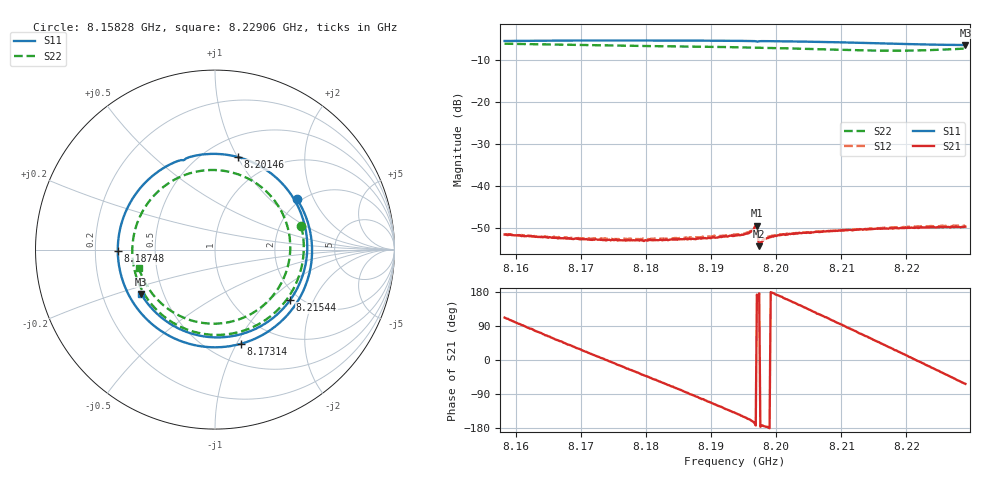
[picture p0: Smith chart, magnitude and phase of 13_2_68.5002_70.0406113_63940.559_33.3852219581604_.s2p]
#  HZ  S  RI  R  50.00
! Rohde & Schwarz Vector Network Analyzer
! Rohde-Schwarz,ZNB20-2Port,1311601062101988,3.16
! Created: UTC 3/20/2024, 5:04:15 PM
! freq[Hz]  re:S11  im:S11  re:S21  im:S21  re:S12  im:S12  re:S22  im:S22
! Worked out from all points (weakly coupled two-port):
!   401 points, 8.15828 GHz to 8.22906 GHz, reference 50 ohm
!   highest |S21| = -49.49 dB at 8.19703 GHz (marker M1); lowest = -54.4 dB at 8.19739 GHz (marker M2)
!   lowest |S11| = -6.4 dB at 8.22906 GHz (marker M3), VSWR 2.85, Z = 18.7 - j12 ohm
!   |S11| at or under -10 dB: nowhere
!   |S22| runs from -7.7 to -6.1 dB; largest |S21 - S12| = 0.00023
!   S11 on the Smith chart (normalised r, x): 8.15828 GHz: 1.91, +1.50; 8.17314 GHz: 0.70, -1.04; 8.18748 GHz: 0.30, -0.01; 8.20146 GHz: 0.70, +1.00; 8.21544 GHz: 1.79, -1.35; 8.22906 GHz: 0.37, -0.24
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8.158277e9  0.4579 0.2796  -0.000981 0.00244  -0.000998 0.00243  0.4802 0.1306
8.164117e9  0.5332 -0.0963  0.000886 0.00228  0.000849 0.00231  0.4404 -0.212
8.170134e9  0.3268 -0.435  0.00208 0.00102  0.00213 0.00107  0.1835 -0.4431
8.173142e9  0.1444 -0.5249  0.00226 0.000202  0.00235 0.000224  0.0143 -0.4752
8.177389e9  -0.143 -0.525  0.00204 -0.00094  0.00214 -0.000966  -0.2178 -0.4165
8.18199e9  -0.4083 -0.3585  0.00125 -0.00188  0.00129 -0.00197  -0.4 -0.2374
8.187476e9  -0.5416 -0.00901  -0.000185 -0.00232  -0.000258 -0.0024  -0.4561 0.0576
8.190484e9  -0.5035 0.1966  -0.00108 -0.00216  -0.00117 -0.00227  -0.4023 0.2152
8.19367e9  -0.3804 0.3816  -0.00194 -0.00167  -0.00205 -0.00163  -0.2875 0.3491
8.196678e9  -0.2007 0.4956  -0.00307 -0.000738  -0.00314 -0.000618  -0.1379 0.4258
8.197032e9  -0.1759 0.498  -0.00332 0.000442  -0.00338 0.000557  -0.1186 0.4307
8.197386e9  -0.1611 0.5077  -0.00191 0.000133  -0.00194 0.000239  -0.0993 0.4351
8.19774e9  -0.136 0.5172  -0.00213 -0.00024  -0.00216 -0.000163  -0.0795 0.4386
8.201456e9  0.1254 0.5163  -0.00246 0.000844  -0.0025 0.000929  0.1291 0.4194
8.205526e9  0.3707 0.372  -0.00177 0.00215  -0.00171 0.00223  0.3208 0.2867
8.210481e9  0.5126 0.056  1.55e-06 0.00295  0.000113 0.00296  0.4195 0.0138
8.215436e9  0.4193 -0.28  0.002 0.00235  0.00206 0.00234  0.3129 -0.2682
8.217383e9  0.3226 -0.3816  0.00259 0.00172  0.00268 0.00168  0.2179 -0.3486
8.220214e9  0.1407 -0.4726  0.0031 0.000578  0.00322 0.000481  0.0442 -0.4098
8.223046e9  -0.0627 -0.4835  0.00311 -0.000731  0.00318 -0.00087  -0.1432 -0.3909
8.2257e9  -0.2423 -0.4183  0.00263 -0.00186  0.00263 -0.00204  -0.2989 -0.2998
8.229062e9  -0.4113 -0.2473  0.00149 -0.00291  0.00136 -0.00309  -0.4231 -0.1051
